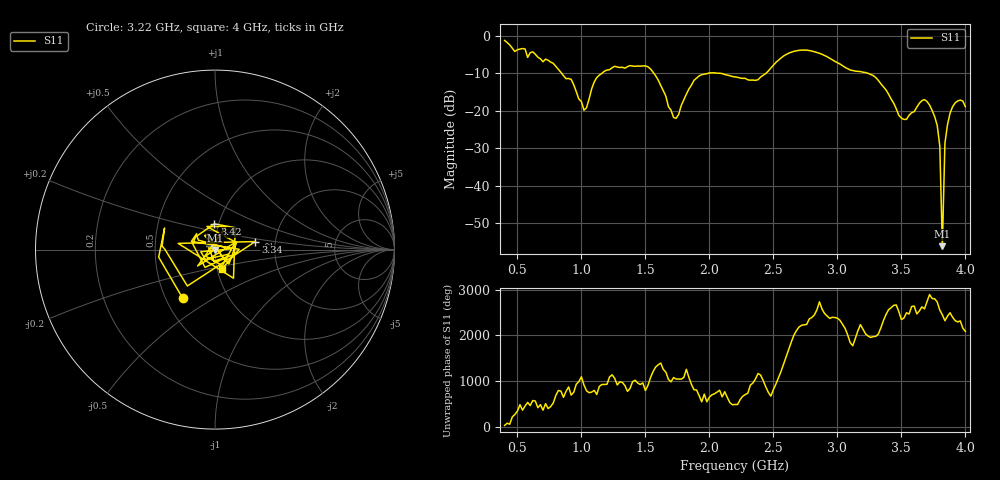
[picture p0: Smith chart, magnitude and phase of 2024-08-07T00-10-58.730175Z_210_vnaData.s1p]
!Created with skrf (http://scikit-rf.org).
# Hz S RI R 50.0
!freq ReS11 ImS11
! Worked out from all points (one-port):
!   181 points, 400 MHz to 4 GHz, reference 50 ohm
!   lowest |S11| = -56.2 dB at 3.82 GHz (marker M1), VSWR 1.00, Z = 50.1 - j0.141 ohm
!   |S11| at or under -10 dB: 1.566 GHz to 1.988 GHz (421.6 MHz wide, 23.7 % of centre); 2.089 GHz to 2.441 GHz (352.1 MHz wide, 15.5 % of centre); 3.241 GHz to end of sweep (the widest 3 of 4)
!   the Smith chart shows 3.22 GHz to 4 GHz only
!   S11 on the Smith chart (normalised r, x): 3.22 GHz: 0.61, -0.37; 3.34 GHz: 1.57, +0.15; 3.42 GHz: 0.95, +0.28; 4 GHz: 1.06, -0.23
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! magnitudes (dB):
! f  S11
! 400 MHz  -1.2
! 860 MHz  -10.6
! 920 MHz  -11.6
! 1.02 GHz  -19.9
! 1.12 GHz  -11.1
! 1.3 GHz  -8.4
! 1.52 GHz  -8.2
! 1.6 GHz  -11.8
! 1.72 GHz  -21.8
! 1.76 GHz  -21.0
! 1.92 GHz  -10.7
! 2.2 GHz  -10.9
! 2.38 GHz  -11.7
! 2.66 GHz  -4.1
! 3.1 GHz  -9.1
! 3.22 GHz  -9.8
! 3.34 GHz  -12.8
! 3.42 GHz  -16.9
! 3.5 GHz  -22.0
! 3.56 GHz  -21.2
! 3.68 GHz  -17.0
! 3.78 GHz  -23.9
! 3.8 GHz  -29.4
! 3.82 GHz  -56.2
! 3.84 GHz  -28.7
! 3.86 GHz  -23.8
! 3.92 GHz  -17.9
! 4 GHz  -18.9
